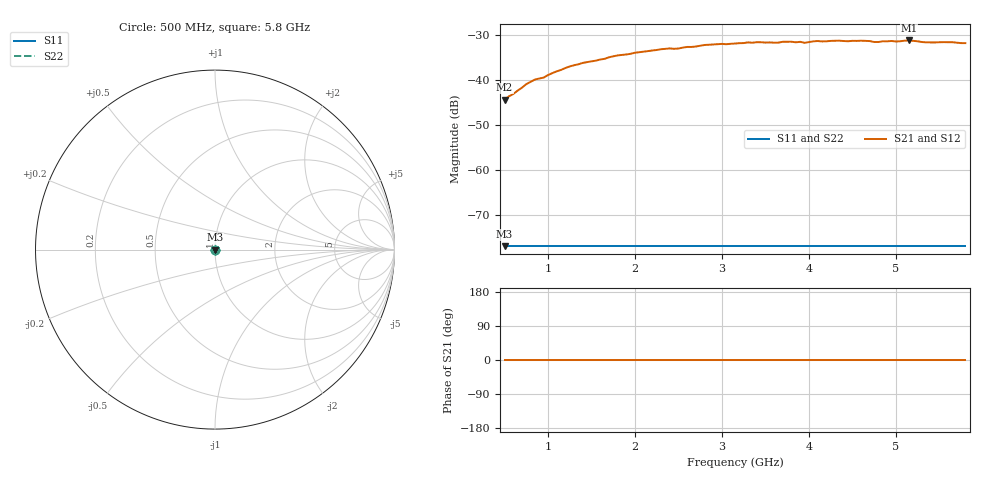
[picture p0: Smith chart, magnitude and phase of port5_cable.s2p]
# GHZ S RI R 50
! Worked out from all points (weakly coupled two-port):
!   107 points, 500 MHz to 5.8 GHz, reference 50 ohm
!   highest |S21| = -31.22 dB at 5.15 GHz (marker M1); lowest = -44.4 dB at 500 MHz (marker M2)
!   lowest |S11| = -77.0 dB at 500 MHz (marker M3), VSWR 1.00, Z = 50 + j0.01 ohm
!   |S11| at or under -10 dB: start of sweep to end of sweep
!   |S22| runs from -77.0 to -77.0 dB; largest |S21 - S12| = 0
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0.5  0.0001 0.0001  0.00603 0  0.00603 0  0.0001 0.0001
0.75  0.0001 0.0001  0.00899 0  0.00899 0  0.0001 0.0001
0.85  0.0001 0.0001  0.0101 0  0.0101 0  0.0001 0.0001
0.95  0.0001 0.0001  0.0106 0  0.0106 0  0.0001 0.0001
1.2  0.0001 0.0001  0.0136 0  0.0136 0  0.0001 0.0001
1.4  0.0001 0.0001  0.0155 0  0.0155 0  0.0001 0.0001
1.8  0.0001 0.0001  0.0187 0  0.0187 0  0.0001 0.0001
2.3  0.0001 0.0001  0.022 0  0.022 0  0.0001 0.0001
2.5  0.0001 0.0001  0.0224 0  0.0224 0  0.0001 0.0001
2.8  0.0001 0.0001  0.0245 0  0.0245 0  0.0001 0.0001
3.15  0.0001 0.0001  0.0254 0  0.0254 0  0.0001 0.0001
3.65  0.0001 0.0001  0.026 0  0.026 0  0.0001 0.0001
3.7  0.0001 0.0001  0.0266 0  0.0266 0  0.0001 0.0001
3.9  0.0001 0.0001  0.0265 0  0.0265 0  0.0001 0.0001
3.95  0.0001 0.0001  0.0259 0  0.0259 0  0.0001 0.0001
4.05  0.0001 0.0001  0.0269 0  0.0269 0  0.0001 0.0001
4.6  0.0001 0.0001  0.0273 0  0.0273 0  0.0001 0.0001
4.8  0.0001 0.0001  0.0264 0  0.0264 0  0.0001 0.0001
4.95  0.0001 0.0001  0.0271 0  0.0271 0  0.0001 0.0001
5.15  0.0001 0.0001  0.0275 0  0.0275 0  0.0001 0.0001
5.35  0.0001 0.0001  0.0262 0  0.0262 0  0.0001 0.0001
5.8  0.0001 0.0001  0.0257 0  0.0257 0  0.0001 0.0001
